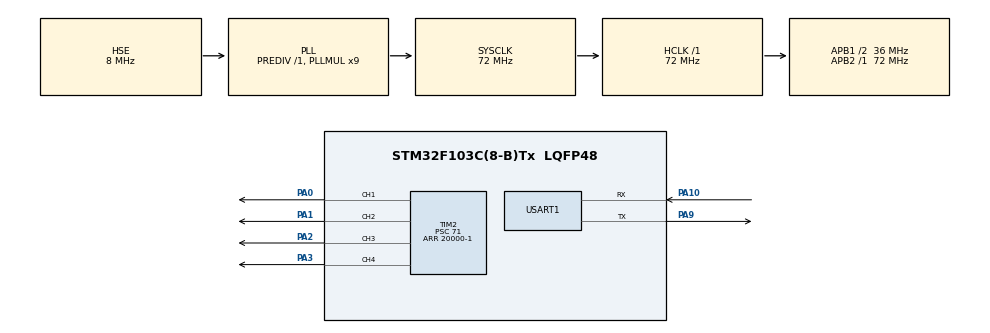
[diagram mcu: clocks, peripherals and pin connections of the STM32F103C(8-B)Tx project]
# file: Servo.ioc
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Mcu.Family=STM32F1
Mcu.Name=STM32F103C(8-B)Tx
Mcu.Package=LQFP48
NVIC.PriorityGroup=NVIC_PRIORITYGROUP_4
NVIC.USART1_IRQn=true\:0\:0\:false\:false\:true\:true\:true\:true
PA0-WKUP.Signal=S_TIM2_CH1_ETR
PA1.Signal=S_TIM2_CH2
PA10.Mode=Asynchronous
PA10.Signal=USART1_RX
PA13.Mode=Serial_Wire
PA13.Signal=SYS_JTMS-SWDIO
PA14.Mode=Serial_Wire
PA14.Signal=SYS_JTCK-SWCLK
PA2.Signal=S_TIM2_CH3
PA3.Signal=S_TIM2_CH4
PA9.Mode=Asynchronous
PA9.Signal=USART1_TX
PD0-OSC_IN.Mode=HSE-External-Oscillator
PD0-OSC_IN.Signal=RCC_OSC_IN
PD1-OSC_OUT.Mode=HSE-External-Oscillator
PD1-OSC_OUT.Signal=RCC_OSC_OUT
ProjectManager.HeapSize=0x200
ProjectManager.StackSize=0x400
ProjectManager.TargetToolchain=CMake
RCC.AHBFreq_Value=72000000
RCC.APB1CLKDivider=RCC_HCLK_DIV2
RCC.APB1Freq_Value=36000000
RCC.APB1TimFreq_Value=72000000
RCC.APB2Freq_Value=72000000
RCC.APB2TimFreq_Value=72000000
RCC.HCLKFreq_Value=72000000
RCC.PLLMUL=RCC_PLL_MUL9
RCC.PLLSourceVirtual=RCC_PLLSOURCE_HSE
RCC.SYSCLKFreq_VALUE=72000000
RCC.SYSCLKSource=RCC_SYSCLKSOURCE_PLLCLK
RCC.USBFreq_Value=72000000
SH.S_TIM2_CH1_ETR.0=TIM2_CH1,PWM Generation1 CH1
SH.S_TIM2_CH2.0=TIM2_CH2,PWM Generation2 CH2
SH.S_TIM2_CH3.0=TIM2_CH3,PWM Generation3 CH3
SH.S_TIM2_CH4.0=TIM2_CH4,PWM Generation4 CH4
TIM2.Channel-PWM\ Generation1\ CH1=TIM_CHANNEL_1
TIM2.Channel-PWM\ Generation2\ CH2=TIM_CHANNEL_2
TIM2.Channel-PWM\ Generation3\ CH3=TIM_CHANNEL_3
TIM2.Channel-PWM\ Generation4\ CH4=TIM_CHANNEL_4
TIM2.Period=20000-1
TIM2.Prescaler=71
TIM2.Pulse-PWM\ Generation1\ CH1=500
TIM2.Pulse-PWM\ Generation2\ CH2=500
TIM2.Pulse-PWM\ Generation3\ CH3=500
TIM2.Pulse-PWM\ Generation4\ CH4=500
USART1.VirtualMode=VM_ASYNC
VP_TIM2_VS_ClockSourceINT.Mode=Internal
board=custom

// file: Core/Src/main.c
/* USER CODE BEGIN Header */
/**
 ******************************************************************************
 * @file           : main.c
 * @brief          : Main program body
 ******************************************************************************
 * @attention
 *
 * Copyright (c) 2026 STMicroelectronics.
 * All rights reserved.
 *
 * This software is licensed under terms that can be found in the LICENSE file
 * in the root directory of this software component.
 * If no LICENSE file comes with this software, it is provided AS-IS.
 *
 ******************************************************************************
 */
/* USER CODE END Header */
#include "main.h"
#include "gpio.h"
#include "tim.h"
#include "usart.h"

/* USER CODE BEGIN Includes */

#include "servo.h"
#include <stdio.h>
#include <string.h>

/* USER CODE END Includes */

/* USER CODE BEGIN PD */

#define RX_BUFFER_SIZE 64

/* USER CODE END PD */

/* USER CODE BEGIN PV */

char rx_buffer[RX_BUFFER_SIZE]; // 接收缓冲区
uint8_t rx_data;                // 单个字符接收缓冲
uint8_t rx_index = 0;           // 缓冲区索引
uint8_t rx_complete = 0;        // 接收完成标志位

int param1 = 0;
int param2 = 0;
int param3 = 0;
int param4 = 0;

/* USER CODE END PV */

void SystemClock_Config(void);

int main(void) {

  /* MCU
   * Configuration--------------------------------------------------------*/

  /* Reset of all peripherals, Initializes the Flash interface and the
   * Systick.
   */
  HAL_Init();

  /* Configure the system clock */
  SystemClock_Config();

  /* Initialize all configured peripherals */
  MX_GPIO_Init();
  MX_TIM2_Init();
  MX_USART1_UART_Init();
  /* USER CODE BEGIN 2 */

  HAL_UART_Receive_IT(&huart1, &rx_data, 1);
  Servo_Init();

  /* USER CODE END 2 */

  /* Infinite loop */
  /* USER CODE BEGIN WHILE */
  while (1) {

    if (rx_complete) {

      char tx_buffer[64];

      // 使用 sscanf 解析数据，期望成功解析4个参数
      int parsed_count =
          sscanf(rx_buffer, "%d,%d,%d,%d", &param1, &param2, &param3, &param4);

      if (parsed_count == 4) {
        // 解析成功，可以使用 param1 ~ param4 了
        Servo_SetAllAngles(param1, param2, param3, param4);

        snprintf(tx_buffer, sizeof(tx_buffer), "OK: %d, %d, %d, %d\r\n", param1,
                 param2, param3, param4);
        HAL_UART_Transmit(&huart1, (uint8_t *)tx_buffer, strlen(tx_buffer),
                          100);
      } else {
        snprintf(tx_buffer, sizeof(tx_buffer), "Error: Invalid Format!\r\n");
        HAL_UART_Transmit(&huart1, (uint8_t *)tx_buffer, strlen(tx_buffer),
                          100);
      }

      // 清理标志位和缓冲区，准备下一次接收
      rx_index = 0;
      rx_complete = 0;
      memset(rx_buffer, 0, RX_BUFFER_SIZE);
    }

    /* USER CODE END WHILE */

  }
}

void SystemClock_Config(void) {
  RCC_OscInitTypeDef RCC_OscInitStruct = {0};
  RCC_ClkInitTypeDef RCC_ClkInitStruct = {0};

  /** Initializes the RCC Oscillators according to the specified parameters
   * in the RCC_OscInitTypeDef structure.
   */
  RCC_OscInitStruct.OscillatorType = RCC_OSCILLATORTYPE_HSE;
  RCC_OscInitStruct.HSEState = RCC_HSE_ON;
  RCC_OscInitStruct.HSEPredivValue = RCC_HSE_PREDIV_DIV1;
  RCC_OscInitStruct.HSIState = RCC_HSI_ON;
  RCC_OscInitStruct.PLL.PLLState = RCC_PLL_ON;
  RCC_OscInitStruct.PLL.PLLSource = RCC_PLLSOURCE_HSE;
  RCC_OscInitStruct.PLL.PLLMUL = RCC_PLL_MUL9;
  if (HAL_RCC_OscConfig(&RCC_OscInitStruct) != HAL_OK) {
    Error_Handler();
  }

  /** Initializes the CPU, AHB and APB buses clocks
   */
  RCC_ClkInitStruct.ClockType = RCC_CLOCKTYPE_HCLK | RCC_CLOCKTYPE_SYSCLK |
                                RCC_CLOCKTYPE_PCLK1 | RCC_CLOCKTYPE_PCLK2;
  RCC_ClkInitStruct.SYSCLKSource = RCC_SYSCLKSOURCE_PLLCLK;
  RCC_ClkInitStruct.AHBCLKDivider = RCC_SYSCLK_DIV1;
  RCC_ClkInitStruct.APB1CLKDivider = RCC_HCLK_DIV2;
  RCC_ClkInitStruct.APB2CLKDivider = RCC_HCLK_DIV1;

  if (HAL_RCC_ClockConfig(&RCC_ClkInitStruct, FLASH_LATENCY_2) != HAL_OK) {
    Error_Handler();
  }
}

/* USER CODE BEGIN 4 */
void HAL_UART_RxCpltCallback(UART_HandleTypeDef *huart) {
  if (huart->Instance == USART1) {
    // 过滤掉可能包含的回车符 '\r'，只认 '\n' 作为结束符
    if (rx_data != '\n' && rx_data != '\r') {
      if (rx_index < RX_BUFFER_SIZE - 1) {
        rx_buffer[rx_index++] = (char)rx_data; // 存入数据
      }
    } else if (rx_data == '\n') {
      rx_buffer[rx_index] = '\0'; // 字符串添加结束符
      rx_complete = 1;            // 标记一帧数据接收完成
    }

    // 重新开启中断接收下一个字节
    HAL_UART_Receive_IT(&huart1, &rx_data, 1);
  }
}

/* USER CODE END 4 */

void Error_Handler(void) {
  /* USER CODE BEGIN Error_Handler_Debug */
  /* User can add his own implementation to report the HAL error return state
   */
  __disable_irq();
  while (1) {
  }
  /* USER CODE END Error_Handler_Debug */
}
#ifdef USE_FULL_ASSERT
/**
 * @brief  Reports the name of the source file and the source line number
 *         where the assert_param error has occurred.
 * @param  file: pointer to the source file name
 * @param  line: assert_param error line source number
 * @retval None
 */
void assert_failed(uint8_t *file, uint32_t line) {
  /* USER CODE BEGIN 6 */
  /* User can add his own implementation to report the file name and line
     number, ex: printf("Wrong parameters value: file %s on line %d\r\n",
     file, line) */
  /* USER CODE END 6 */
}
#endif /* USE_FULL_ASSERT */
